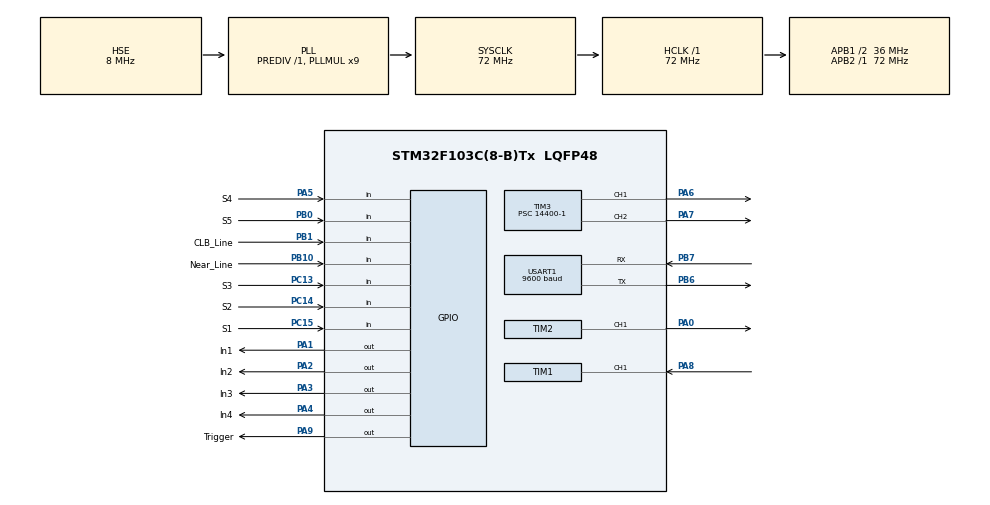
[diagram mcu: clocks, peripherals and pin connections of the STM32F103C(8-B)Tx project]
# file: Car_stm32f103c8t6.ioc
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Mcu.Family=STM32F1
Mcu.Name=STM32F103C(8-B)Tx
Mcu.Package=LQFP48
NVIC.PriorityGroup=NVIC_PRIORITYGROUP_4
NVIC.TIM1_CC_IRQn=true\:0\:0\:false\:false\:true\:true\:true
NVIC.USART1_IRQn=true\:1\:0\:true\:false\:true\:true\:true
PA0-WKUP.Signal=S_TIM2_CH1_ETR
PA1.GPIO_Label=In1
PA1.Signal=GPIO_Output
PA13.Mode=Serial_Wire
PA13.Signal=SYS_JTMS-SWDIO
PA14.Mode=Serial_Wire
PA14.Signal=SYS_JTCK-SWCLK
PA2.GPIO_Label=In2
PA2.Signal=GPIO_Output
PA3.GPIO_Label=In3
PA3.Signal=GPIO_Output
PA4.GPIO_Label=In4
PA4.Signal=GPIO_Output
PA5.GPIO_Label=S4
PA5.Signal=GPIO_Input
PA6.Signal=S_TIM3_CH1
PA7.Signal=S_TIM3_CH2
PA8.Signal=S_TIM1_CH1
PA9.GPIO_Label=Trigger
PA9.Signal=GPIO_Output
PB0.GPIO_Label=S5
PB0.Signal=GPIO_Input
PB1.GPIO_Label=CLB_Line
PB1.GPIO_PuPd=GPIO_PULLUP
PB1.Signal=GPIO_Input
PB10.GPIO_Label=Near_Line
PB10.Signal=GPIO_Input
PB6.Mode=Asynchronous
PB6.Signal=USART1_TX
PB7.Mode=Asynchronous
PB7.Signal=USART1_RX
PC13-TAMPER-RTC.GPIO_Label=S3
PC13-TAMPER-RTC.Signal=GPIO_Input
PC14-OSC32_IN.GPIO_Label=S2
PC14-OSC32_IN.Signal=GPIO_Input
PC15-OSC32_OUT.GPIO_Label=S1
PC15-OSC32_OUT.Signal=GPIO_Input
PD0-OSC_IN.Mode=HSE-External-Oscillator
PD0-OSC_IN.Signal=RCC_OSC_IN
PD1-OSC_OUT.Mode=HSE-External-Oscillator
PD1-OSC_OUT.Signal=RCC_OSC_OUT
ProjectManager.HeapSize=0x200
ProjectManager.StackSize=0x400
ProjectManager.TargetToolchain=MDK-ARM V5.32
RCC.AHBFreq_Value=72000000
RCC.APB1CLKDivider=RCC_HCLK_DIV2
RCC.APB1Freq_Value=36000000
RCC.APB1TimFreq_Value=72000000
RCC.APB2Freq_Value=72000000
RCC.APB2TimFreq_Value=72000000
RCC.HCLKFreq_Value=72000000
RCC.PLLMUL=RCC_PLL_MUL9
RCC.PLLSourceVirtual=RCC_PLLSOURCE_HSE
RCC.SYSCLKFreq_VALUE=72000000
RCC.SYSCLKSource=RCC_SYSCLKSOURCE_PLLCLK
RCC.USBFreq_Value=72000000
SH.S_TIM1_CH1.0=TIM1_CH1,Input_Capture1_from_TI1
SH.S_TIM2_CH1_ETR.0=TIM2_CH1,PWM Generation1 CH1
SH.S_TIM3_CH1.0=TIM3_CH1,PWM Generation1 CH1
SH.S_TIM3_CH2.0=TIM3_CH2,PWM Generation2 CH2
TIM1.Channel-Input_Capture1_from_TI1=TIM_CHANNEL_1
TIM1.Prescaler=71
TIM2.Channel-PWM\ Generation1\ CH1=TIM_CHANNEL_1
TIM2.Period=1000
TIM2.Prescaler=1440-1
TIM3.Channel-PWM\ Generation1\ CH1=TIM_CHANNEL_1
TIM3.Channel-PWM\ Generation2\ CH2=TIM_CHANNEL_2
TIM3.Period=100-1
TIM3.Prescaler=14400-1
USART1.BaudRate=9600
USART1.VirtualMode=VM_ASYNC
VP_TIM2_VS_ClockSourceINT.Mode=Internal
VP_TIM3_VS_ClockSourceINT.Mode=Internal
board=custom

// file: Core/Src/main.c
/* USER CODE BEGIN Header */
/**
  ******************************************************************************
  * @file           : main.c
  * @brief          : Main program body
  ******************************************************************************
  * @attention
  *
  * <h2><center>&copy; Copyright (c) 2022 STMicroelectronics.
  * All rights reserved.</center></h2>
  *
  * This software component is licensed by ST under BSD 3-Clause license,
  * the "License"; You may not use this file except in compliance with the
  * License. You may obtain a copy of the License at:
  *                        opensource.org/licenses/BSD-3-Clause
  *
  ******************************************************************************
  */
/* USER CODE END Header */
#include "main.h"

/* USER CODE BEGIN Includes */
#include "string.h"
/* USER CODE END Includes */

TIM_HandleTypeDef htim1;
TIM_HandleTypeDef htim2;
TIM_HandleTypeDef htim3;

UART_HandleTypeDef huart1;

void SystemClock_Config(void);
static void MX_GPIO_Init(void);
static void MX_TIM1_Init(void);
static void MX_TIM2_Init(void);
static void MX_TIM3_Init(void);
static void MX_USART1_UART_Init(void);

/* USER CODE BEGIN 0 */
uint32_t IC_Val1 = 0;
uint32_t IC_Val2 = 0;
uint32_t diff = 0;
uint8_t distance = 0;
uint8_t distance_left = 0;
uint8_t distance_right = 0;
uint8_t is_capture;
uint8_t Val_S1 = 0, Val_S2 = 0, Val_S3 = 0, Val_S4 = 0, Val_S5 = 0;
uint8_t Tx_data[10] = "Hello Anh"; // mang truyen du lieu
uint8_t Rx_data[5]; // buffer luu chuoi nhan dc

void Delay_us(uint16_t us)
{
	htim1.Instance->CNT = 0;
	HAL_TIM_Base_Start(&htim1);
	while(htim1.Instance->CNT < us);
	HAL_TIM_Base_Stop(&htim1);
}
void Sr04_Trigger()
{
	HAL_GPIO_WritePin(Trigger_GPIO_Port, Trigger_Pin, GPIO_PIN_SET);
	Delay_us(10);
	HAL_GPIO_WritePin(Trigger_GPIO_Port, Trigger_Pin, GPIO_PIN_RESET);
	__HAL_TIM_ENABLE_IT(&htim1, TIM_IT_CC1);
}
void HAL_TIM_IC_CaptureCallback(TIM_HandleTypeDef *htim)
{
	if(htim -> Channel == HAL_TIM_ACTIVE_CHANNEL_1) //kiem tra k�nh g�y ra ngat
		{
			if(is_capture == 0)  // neu gi� tri dau ti�n kh�ng duoc nam bat
				{
					IC_Val1 = HAL_TIM_ReadCapturedValue(htim, TIM_CHANNEL_1); // luu gi� tri thoi gian cua lan lay mau dau
					is_capture = 1;
					__HAL_TIM_SET_CAPTUREPOLARITY(htim,TIM_CHANNEL_1,TIM_INPUTCHANNELPOLARITY_FALLING); // B�y gio thay doi cuc th�nh canh roi
				}
			else if(is_capture == 1) // neu gi� tri dau ti�n d� duoc chup
				{
					IC_Val2 = HAL_TIM_ReadCapturedValue(htim, TIM_CHANNEL_1); // luu gi� tri thoi gian cua lan 2
					__HAL_TIM_SET_COUNTER(htim,0); // reset the counter
					if(IC_Val2 > IC_Val1)
						{
							diff = IC_Val2 - IC_Val1; // Thoi gian
						}
					else if(IC_Val2 < IC_Val1)
						{
							diff = 0xffff + IC_Val2 - IC_Val1;
						}
					distance = diff * (.034/2);
					is_capture = 0;
					__HAL_TIM_SET_CAPTUREPOLARITY(htim,TIM_CHANNEL_1,TIM_INPUTCHANNELPOLARITY_RISING); // dat cuc t�nh th�nh canh l�n
					__HAL_TIM_DISABLE_IT(&htim1,TIM_IT_CC1);
				}
		}
}
void Reset_Servo()
{
	htim2.Instance->CCR1 = 75;
}
void Servo_Left()
{
	htim2.Instance->CCR1 = 25;
	HAL_Delay(500);
	Sr04_Trigger();
	Reset_Servo();
}
void Servo_Right()
{
	htim2.Instance->CCR1 = 125;
	HAL_Delay(500);
	Sr04_Trigger();
	Reset_Servo();
}
void Forward()
{
	__HAL_TIM_SET_COMPARE(&htim3, TIM_CHANNEL_1, 99);
  __HAL_TIM_SET_COMPARE(&htim3, TIM_CHANNEL_2, 99);
	HAL_GPIO_WritePin(In1_GPIO_Port,In1_Pin,GPIO_PIN_SET);
	HAL_GPIO_WritePin(In2_GPIO_Port,In2_Pin,GPIO_PIN_RESET);
	HAL_GPIO_WritePin(In3_GPIO_Port,In3_Pin,GPIO_PIN_SET);
	HAL_GPIO_WritePin(In4_GPIO_Port,In4_Pin,GPIO_PIN_RESET);
}
void Back()
{
	__HAL_TIM_SET_COMPARE(&htim3, TIM_CHANNEL_1, 99);
  __HAL_TIM_SET_COMPARE(&htim3, TIM_CHANNEL_2, 99);
	HAL_GPIO_WritePin(In1_GPIO_Port,In1_Pin,GPIO_PIN_RESET);
	HAL_GPIO_WritePin(In2_GPIO_Port,In2_Pin,GPIO_PIN_SET);
	HAL_GPIO_WritePin(In3_GPIO_Port,In3_Pin,GPIO_PIN_RESET);
	HAL_GPIO_WritePin(In4_GPIO_Port,In4_Pin,GPIO_PIN_SET);
}
void Right()
{
	__HAL_TIM_SET_COMPARE(&htim3, TIM_CHANNEL_1, 100);
  __HAL_TIM_SET_COMPARE(&htim3, TIM_CHANNEL_2, 50);
	HAL_GPIO_WritePin(In1_GPIO_Port,In1_Pin,GPIO_PIN_SET);
	HAL_GPIO_WritePin(In2_GPIO_Port,In2_Pin,GPIO_PIN_RESET);
	HAL_GPIO_WritePin(In3_GPIO_Port,In3_Pin,GPIO_PIN_RESET);
	HAL_GPIO_WritePin(In4_GPIO_Port,In4_Pin,GPIO_PIN_SET);
}
void Left()
{
	__HAL_TIM_SET_COMPARE(&htim3, TIM_CHANNEL_1, 50);
  __HAL_TIM_SET_COMPARE(&htim3, TIM_CHANNEL_2, 100);
	HAL_GPIO_WritePin(In1_GPIO_Port,In1_Pin,GPIO_PIN_RESET);
	HAL_GPIO_WritePin(In2_GPIO_Port,In2_Pin,GPIO_PIN_SET);
	HAL_GPIO_WritePin(In3_GPIO_Port,In3_Pin,GPIO_PIN_SET);
	HAL_GPIO_WritePin(In4_GPIO_Port,In4_Pin,GPIO_PIN_RESET);
}
void Stop()
{
	TIM3->CCR1 = 0;
	TIM3->CCR2 = 0;
}
void Mode_AUTO()
{
	Sr04_Trigger();
	HAL_Delay(100);
	if(distance > 50)
	{
		Forward();
	}
	else
	{
		Stop();
		Servo_Left();
		distance_left = distance;
		Servo_Right();
		distance_right = distance;
		if(distance_left < 30 && distance_right < 30)
		{
			Back();
			HAL_Delay(300);
		}
		else
			{
				if(distance_left < distance_right)
				{
					Right();
					HAL_Delay(300);
				}
				if(distance_left > distance_right)
				{
					Left();
					HAL_Delay(300);
				}
			}
	}
}
void Mode_Line()
{
	Val_S1 = HAL_GPIO_ReadPin(S1_GPIO_Port, S1_Pin);
	Val_S2 = HAL_GPIO_ReadPin(S2_GPIO_Port, S2_Pin);
	Val_S3 = HAL_GPIO_ReadPin(S3_GPIO_Port, S3_Pin);
	Val_S4 = HAL_GPIO_ReadPin(S4_GPIO_Port, S4_Pin);
	Val_S5 = HAL_GPIO_ReadPin(S5_GPIO_Port, S5_Pin);
	if(Val_S2 == 1 && Val_S3 == 0 && Val_S4 == 1){
		Forward();
	}
	if(Val_S2 == 0 && Val_S3 == 0 && Val_S4 == 1){
		Left();
	}
	if(Val_S2 == 0 && Val_S3 == 1 && Val_S4 == 1){
		Left();
	}
	if(Val_S2 == 1 && Val_S3 == 0 && Val_S4 == 0){
		Right();
	}
	if(Val_S2 == 1 && Val_S3 == 1 && Val_S4 == 0){
		Right();
	}
	if(Val_S2 == 0 && Val_S3 == 0 && Val_S4 == 0){
		Stop();
	}
}
void Mode_Bluetooth()
{
	//HAL_UART_Transmit(&huart1, Tx_data, sizeof(Tx_data), 1000);
	HAL_UART_Receive_IT(&huart1, Rx_data, 5);
}
void HAL_UART_RxCpltCallback(UART_HandleTypeDef *huart)
{

}
/* USER CODE END 0 */

int main(void)
{

  /* MCU Configuration--------------------------------------------------------*/

  /* Reset of all peripherals, Initializes the Flash interface and the Systick. */
  HAL_Init();

  /* Configure the system clock */
  SystemClock_Config();

  /* Initialize all configured peripherals */
  MX_GPIO_Init();
  MX_TIM1_Init();
  MX_TIM2_Init();
  MX_TIM3_Init();
  MX_USART1_UART_Init();
  /* USER CODE BEGIN 2 */
  HAL_TIM_PWM_Start(&htim2,TIM_CHANNEL_1);
	HAL_TIM_PWM_Start(&htim3,TIM_CHANNEL_1);
	HAL_TIM_PWM_Start(&htim3,TIM_CHANNEL_2);
	HAL_TIM_IC_Start_IT(&htim1, TIM_CHANNEL_1);
  /* USER CODE END 2 */

  /* Infinite loop */
  /* USER CODE BEGIN WHILE */
  while (1)
  {
		Mode_Bluetooth();
    /* USER CODE END WHILE */

  }
}

void SystemClock_Config(void)
{
  RCC_OscInitTypeDef RCC_OscInitStruct = {0};
  RCC_ClkInitTypeDef RCC_ClkInitStruct = {0};

  /** Initializes the RCC Oscillators according to the specified parameters
  * in the RCC_OscInitTypeDef structure.
  */
  RCC_OscInitStruct.OscillatorType = RCC_OSCILLATORTYPE_HSE;
  RCC_OscInitStruct.HSEState = RCC_HSE_ON;
  RCC_OscInitStruct.HSEPredivValue = RCC_HSE_PREDIV_DIV1;
  RCC_OscInitStruct.HSIState = RCC_HSI_ON;
  RCC_OscInitStruct.PLL.PLLState = RCC_PLL_ON;
  RCC_OscInitStruct.PLL.PLLSource = RCC_PLLSOURCE_HSE;
  RCC_OscInitStruct.PLL.PLLMUL = RCC_PLL_MUL9;
  if (HAL_RCC_OscConfig(&RCC_OscInitStruct) != HAL_OK)
  {
    Error_Handler();
  }
  /** Initializes the CPU, AHB and APB buses clocks
  */
  RCC_ClkInitStruct.ClockType = RCC_CLOCKTYPE_HCLK|RCC_CLOCKTYPE_SYSCLK
                              |RCC_CLOCKTYPE_PCLK1|RCC_CLOCKTYPE_PCLK2;
  RCC_ClkInitStruct.SYSCLKSource = RCC_SYSCLKSOURCE_PLLCLK;
  RCC_ClkInitStruct.AHBCLKDivider = RCC_SYSCLK_DIV1;
  RCC_ClkInitStruct.APB1CLKDivider = RCC_HCLK_DIV2;
  RCC_ClkInitStruct.APB2CLKDivider = RCC_HCLK_DIV1;

  if (HAL_RCC_ClockConfig(&RCC_ClkInitStruct, FLASH_LATENCY_2) != HAL_OK)
  {
    Error_Handler();
  }
}

static void MX_TIM1_Init(void)
{
// abcdefghjklm

  TIM_MasterConfigTypeDef sMasterConfig = {0};
  TIM_IC_InitTypeDef sConfigIC = {0};

  htim1.Instance = TIM1;
  htim1.Init.Prescaler = 71;
  htim1.Init.CounterMode = TIM_COUNTERMODE_UP;
  htim1.Init.Period = 65535;
  htim1.Init.ClockDivision = TIM_CLOCKDIVISION_DIV1;
  htim1.Init.RepetitionCounter = 0;
  htim1.Init.AutoReloadPreload = TIM_AUTORELOAD_PRELOAD_DISABLE;
  if (HAL_TIM_IC_Init(&htim1) != HAL_OK)
  {
    Error_Handler();
  }
  sMasterConfig.MasterOutputTrigger = TIM_TRGO_RESET;
  sMasterConfig.MasterSlaveMode = TIM_MASTERSLAVEMODE_DISABLE;
  if (HAL_TIMEx_MasterConfigSynchronization(&htim1, &sMasterConfig) != HAL_OK)
  {
    Error_Handler();
  }
  sConfigIC.ICPolarity = TIM_INPUTCHANNELPOLARITY_RISING;
  sConfigIC.ICSelection = TIM_ICSELECTION_DIRECTTI;
  sConfigIC.ICPrescaler = TIM_ICPSC_DIV1;
  sConfigIC.ICFilter = 0;
  if (HAL_TIM_IC_ConfigChannel(&htim1, &sConfigIC, TIM_CHANNEL_1) != HAL_OK)
  {
    Error_Handler();
  }

}

static void MX_TIM2_Init(void)
{

  TIM_ClockConfigTypeDef sClockSourceConfig = {0};
  TIM_MasterConfigTypeDef sMasterConfig = {0};
  TIM_OC_InitTypeDef sConfigOC = {0};

  htim2.Instance = TIM2;
  htim2.Init.Prescaler = 1440-1;
  htim2.Init.CounterMode = TIM_COUNTERMODE_UP;
  htim2.Init.Period = 1000;
  htim2.Init.ClockDivision = TIM_CLOCKDIVISION_DIV1;
  htim2.Init.AutoReloadPreload = TIM_AUTORELOAD_PRELOAD_DISABLE;
  if (HAL_TIM_Base_Init(&htim2) != HAL_OK)
  {
    Error_Handler();
  }
  sClockSourceConfig.ClockSource = TIM_CLOCKSOURCE_INTERNAL;
  if (HAL_TIM_ConfigClockSource(&htim2, &sClockSourceConfig) != HAL_OK)
  {
    Error_Handler();
  }
  if (HAL_TIM_PWM_Init(&htim2) != HAL_OK)
  {
    Error_Handler();
  }
  sMasterConfig.MasterOutputTrigger = TIM_TRGO_RESET;
  sMasterConfig.MasterSlaveMode = TIM_MASTERSLAVEMODE_DISABLE;
  if (HAL_TIMEx_MasterConfigSynchronization(&htim2, &sMasterConfig) != HAL_OK)
  {
    Error_Handler();
  }
  sConfigOC.OCMode = TIM_OCMODE_PWM1;
  sConfigOC.Pulse = 0;
  sConfigOC.OCPolarity = TIM_OCPOLARITY_HIGH;
  sConfigOC.OCFastMode = TIM_OCFAST_DISABLE;
  if (HAL_TIM_PWM_ConfigChannel(&htim2, &sConfigOC, TIM_CHANNEL_1) != HAL_OK)
  {
    Error_Handler();
  }
  HAL_TIM_MspPostInit(&htim2);

}

static void MX_TIM3_Init(void)
{

  TIM_ClockConfigTypeDef sClockSourceConfig = {0};
  TIM_MasterConfigTypeDef sMasterConfig = {0};
  TIM_OC_InitTypeDef sConfigOC = {0};

  htim3.Instance = TIM3;
  htim3.Init.Prescaler = 14400-1;
  htim3.Init.CounterMode = TIM_COUNTERMODE_UP;
  htim3.Init.Period = 100-1;
  htim3.Init.ClockDivision = TIM_CLOCKDIVISION_DIV1;
  htim3.Init.AutoReloadPreload = TIM_AUTORELOAD_PRELOAD_DISABLE;
  if (HAL_TIM_Base_Init(&htim3) != HAL_OK)
  {
    Error_Handler();
  }
  sClockSourceConfig.ClockSource = TIM_CLOCKSOURCE_INTERNAL;
  if (HAL_TIM_ConfigClockSource(&htim3, &sClockSourceConfig) != HAL_OK)
  {
    Error_Handler();
  }
  if (HAL_TIM_PWM_Init(&htim3) != HAL_OK)
  {
    Error_Handler();
  }
  sMasterConfig.MasterOutputTrigger = TIM_TRGO_RESET;
  sMasterConfig.MasterSlaveMode = TIM_MASTERSLAVEMODE_DISABLE;
  if (HAL_TIMEx_MasterConfigSynchronization(&htim3, &sMasterConfig) != HAL_OK)
  {
    Error_Handler();
  }
  sConfigOC.OCMode = TIM_OCMODE_PWM1;
  sConfigOC.Pulse = 0;
  sConfigOC.OCPolarity = TIM_OCPOLARITY_HIGH;
  sConfigOC.OCFastMode = TIM_OCFAST_DISABLE;
  if (HAL_TIM_PWM_ConfigChannel(&htim3, &sConfigOC, TIM_CHANNEL_1) != HAL_OK)
  {
    Error_Handler();
  }
  if (HAL_TIM_PWM_ConfigChannel(&htim3, &sConfigOC, TIM_CHANNEL_2) != HAL_OK)
  {
    Error_Handler();
  }
  HAL_TIM_MspPostInit(&htim3);

}

static void MX_USART1_UART_Init(void)
{

  huart1.Instance = USART1;
  huart1.Init.BaudRate = 9600;
  huart1.Init.WordLength = UART_WORDLENGTH_8B;
  huart1.Init.StopBits = UART_STOPBITS_1;
  huart1.Init.Parity = UART_PARITY_NONE;
  huart1.Init.Mode = UART_MODE_TX_RX;
  huart1.Init.HwFlowCtl = UART_HWCONTROL_NONE;
  huart1.Init.OverSampling = UART_OVERSAMPLING_16;
  if (HAL_UART_Init(&huart1) != HAL_OK)
  {
    Error_Handler();
  }

}

static void MX_GPIO_Init(void)
{
  GPIO_InitTypeDef GPIO_InitStruct = {0};

  /* GPIO Ports Clock Enable */
  __HAL_RCC_GPIOC_CLK_ENABLE();
  __HAL_RCC_GPIOD_CLK_ENABLE();
  __HAL_RCC_GPIOA_CLK_ENABLE();
  __HAL_RCC_GPIOB_CLK_ENABLE();

  /*Configure GPIO pin Output Level */
  HAL_GPIO_WritePin(GPIOA, In1_Pin|In2_Pin|In3_Pin|In4_Pin
                          |Trigger_Pin, GPIO_PIN_RESET);

  /*Configure GPIO pins : S3_Pin S2_Pin S1_Pin */
  GPIO_InitStruct.Pin = S3_Pin|S2_Pin|S1_Pin;
  GPIO_InitStruct.Mode = GPIO_MODE_INPUT;
  GPIO_InitStruct.Pull = GPIO_NOPULL;
  HAL_GPIO_Init(GPIOC, &GPIO_InitStruct);

  /*Configure GPIO pins : In1_Pin In2_Pin In3_Pin In4_Pin
                           Trigger_Pin */
  GPIO_InitStruct.Pin = In1_Pin|In2_Pin|In3_Pin|In4_Pin
                          |Trigger_Pin;
  GPIO_InitStruct.Mode = GPIO_MODE_OUTPUT_PP;
  GPIO_InitStruct.Pull = GPIO_NOPULL;
  GPIO_InitStruct.Speed = GPIO_SPEED_FREQ_LOW;
  HAL_GPIO_Init(GPIOA, &GPIO_InitStruct);

  /*Configure GPIO pin : S4_Pin */
  GPIO_InitStruct.Pin = S4_Pin;
  GPIO_InitStruct.Mode = GPIO_MODE_INPUT;
  GPIO_InitStruct.Pull = GPIO_NOPULL;
  HAL_GPIO_Init(S4_GPIO_Port, &GPIO_InitStruct);

  /*Configure GPIO pins : S5_Pin Near_Line_Pin */
  GPIO_InitStruct.Pin = S5_Pin|Near_Line_Pin;
  GPIO_InitStruct.Mode = GPIO_MODE_INPUT;
  GPIO_InitStruct.Pull = GPIO_NOPULL;
  HAL_GPIO_Init(GPIOB, &GPIO_InitStruct);

  /*Configure GPIO pin : CLB_Line_Pin */
  GPIO_InitStruct.Pin = CLB_Line_Pin;
  GPIO_InitStruct.Mode = GPIO_MODE_INPUT;
  GPIO_InitStruct.Pull = GPIO_PULLUP;
  HAL_GPIO_Init(CLB_Line_GPIO_Port, &GPIO_InitStruct);

}

void Error_Handler(void)
{
  __disable_irq();
  while (1)
  {
  }
}

/************************ (C) COPYRIGHT STMicroelectronics *****END OF FILE****/
